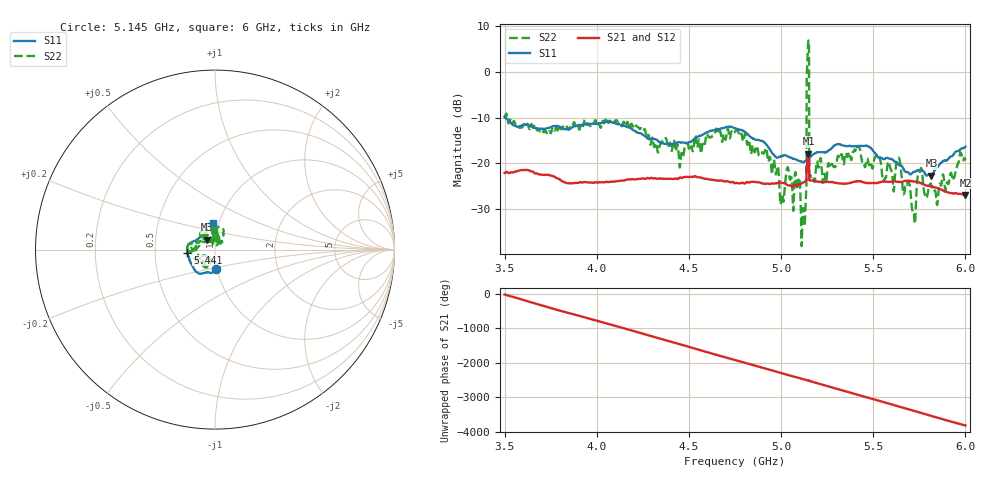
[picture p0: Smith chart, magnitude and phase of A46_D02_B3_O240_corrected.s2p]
! Created with skrf 1.9.0 (http://scikit-rf.org).
# Hz S RI R 50.0
!freq ReS11 ImS11 ReS21 ImS21 ReS12 ImS12 ReS22 ImS22
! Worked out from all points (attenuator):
!   1601 points, 3.5 GHz to 6 GHz, reference 50 ohm
!   highest |S21| = -17.87 dB at 5.148 GHz (marker M1); lowest = -27.0 dB at 6 GHz (marker M2)
!   lowest |S11| = -22.7 dB at 5.816 GHz (marker M3), VSWR 1.16, Z = 45.2 + j5.05 ohm
!   |S11| at or under -10 dB: 3.506 GHz to end of sweep
!   |S22| runs from -38.1 to 6.9 dB; largest |S21 - S12| = 0.0012
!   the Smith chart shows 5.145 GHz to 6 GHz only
!   S11 on the Smith chart (normalised r, x): 5.145 GHz: 0.99, -0.22; 5.441 GHz: 0.73, -0.03; 6 GHz: 0.94, +0.29
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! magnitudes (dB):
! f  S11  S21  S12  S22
! 3.5 GHz  -9.8  -22.1  -22.1  -10.3
! 3.917 GHz  -11.6  -24.2  -24.2  -11.2
! 4.213 GHz  -13.1  -23.5  -23.5  -11.7
! 4.334 GHz  -15.2  -23.4  -23.3  -17.4
! 4.458 GHz  -15.5  -23.2  -23.1  -18.1
! 4.75 GHz  -12.4  -24.4  -24.3  -13.1
! 4.927 GHz  -16.2  -24.4  -24.4  -18.6
! 5.005 GHz  -18.4  -24.3  -24.3  -26.8
! 5.034 GHz  -18.5  -24.8  -24.7  -21.0
! 5.088 GHz  -19.3  -24.9  -24.9  -25.8
! 5.12 GHz  -19.8  -24.2  -24.1  -29.8
! 5.139 GHz  -19.3  -20.9  -20.9  -1.0
! 5.145 GHz  -19.1  -18.5  -18.4  5.3
! 5.148 GHz  -19.0  -17.9  -17.9  6.9
! 5.167 GHz  -18.3  -23.8  -23.7  -22.9
! 5.441 GHz  -16.2  -24.1  -24.1  -19.6
! 5.584 GHz  -19.0  -24.1  -24.0  -19.6
! 5.639 GHz  -20.4  -24.1  -24.0  -18.8
! 5.719 GHz  -21.9  -24.0  -23.9  -30.6
! 5.752 GHz  -21.6  -24.2  -24.2  -21.8
! 5.816 GHz  -22.7  -25.1  -25.0  -24.8
! 6 GHz  -16.4  -27.0  -26.9  -19.4
